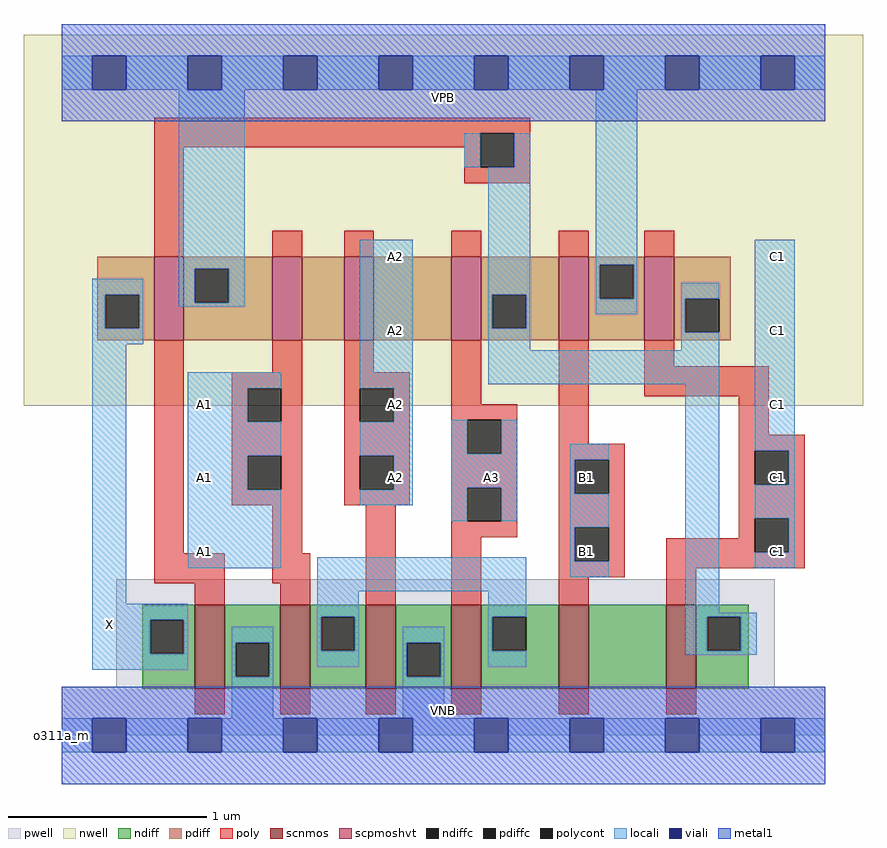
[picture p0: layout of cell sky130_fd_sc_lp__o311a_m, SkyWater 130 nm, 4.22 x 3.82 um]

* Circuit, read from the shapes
.subckt sky130_fd_sc_lp__o311a_m A1 A2 A3 B1 C1 VGND VNB VPB VPWR X
XM1 VGND n1 X VNB sky130_fd_pr__nfet_01v8 w=0.42 l=0.15
XM2 n2 A1 VGND VNB sky130_fd_pr__nfet_01v8 w=0.42 l=0.15
XM3 VGND A2 n2 VNB sky130_fd_pr__nfet_01v8 w=0.42 l=0.15
XM4 n2 A3 VGND VNB sky130_fd_pr__nfet_01v8 w=0.42 l=0.15
XM5 n3 B1 n2 VNB sky130_fd_pr__nfet_01v8 w=0.42 l=0.15
XM6 n1 C1 n3 VNB sky130_fd_pr__nfet_01v8 w=0.42 l=0.15
XM7 VPWR n1 X VPB sky130_fd_pr__pfet_01v8_hvt w=0.42 l=0.15
XM8 n4 A1 VPWR VPB sky130_fd_pr__pfet_01v8_hvt w=0.42 l=0.15
XM9 n5 A2 n4 VPB sky130_fd_pr__pfet_01v8_hvt w=0.42 l=0.15
XM10 n1 A3 n5 VPB sky130_fd_pr__pfet_01v8_hvt w=0.42 l=0.15
XM11 VPWR B1 n1 VPB sky130_fd_pr__pfet_01v8_hvt w=0.42 l=0.15
XM12 n1 C1 VPWR VPB sky130_fd_pr__pfet_01v8_hvt w=0.42 l=0.15
.ends

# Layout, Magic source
magic
tech sky130A
magscale 1 2
<< nwell >>
rect -38 331 806 704
<< pwell >>
rect 55 49 717 157
rect 0 0 768 49
<< scnmos >>
rect 134 47 164 131
rect 220 47 250 131
rect 306 47 336 131
rect 392 47 422 131
rect 500 47 530 131
rect 608 47 638 131
<< scpmoshvt >>
rect 93 397 123 481
rect 212 397 242 481
rect 284 397 314 481
rect 392 397 422 481
rect 500 397 530 481
rect 586 397 616 481
<< ndiff >>
rect 81 116 134 131
rect 81 82 89 116
rect 123 82 134 116
rect 81 47 134 82
rect 164 93 220 131
rect 164 59 175 93
rect 209 59 220 93
rect 164 47 220 59
rect 250 119 306 131
rect 250 85 261 119
rect 295 85 306 119
rect 250 47 306 85
rect 336 93 392 131
rect 336 59 347 93
rect 381 59 392 93
rect 336 47 392 59
rect 422 119 500 131
rect 422 85 433 119
rect 467 85 500 119
rect 422 47 500 85
rect 530 47 608 131
rect 638 119 691 131
rect 638 85 649 119
rect 683 85 691 119
rect 638 47 691 85
<< pdiff >>
rect 36 443 93 481
rect 36 409 44 443
rect 78 409 93 443
rect 36 397 93 409
rect 123 469 212 481
rect 123 435 134 469
rect 168 435 212 469
rect 123 397 212 435
rect 242 397 284 481
rect 314 397 392 481
rect 422 443 500 481
rect 422 409 433 443
rect 467 409 500 443
rect 422 397 500 409
rect 530 473 586 481
rect 530 439 541 473
rect 575 439 586 473
rect 530 397 586 439
rect 616 439 673 481
rect 616 405 627 439
rect 661 405 673 439
rect 616 397 673 405
<< ndiffc >>
rect 89 82 123 116
rect 175 59 209 93
rect 261 85 295 119
rect 347 59 381 93
rect 433 85 467 119
rect 649 85 683 119
<< pdiffc >>
rect 44 409 78 443
rect 134 435 168 469
rect 433 409 467 443
rect 541 439 575 473
rect 627 405 661 439
<< poly >>
rect 93 605 471 621
rect 93 591 421 605
rect 93 481 123 591
rect 405 571 421 591
rect 455 571 471 605
rect 405 555 471 571
rect 212 481 242 507
rect 284 481 314 507
rect 392 481 422 507
rect 500 481 530 507
rect 586 481 616 507
rect 93 183 123 397
rect 212 365 242 397
rect 171 349 242 365
rect 171 315 187 349
rect 221 315 242 349
rect 171 281 242 315
rect 171 247 187 281
rect 221 247 242 281
rect 171 231 242 247
rect 284 365 314 397
rect 284 349 350 365
rect 284 315 300 349
rect 334 315 350 349
rect 284 281 350 315
rect 284 247 300 281
rect 334 247 350 281
rect 284 231 350 247
rect 392 333 422 397
rect 392 317 458 333
rect 392 283 408 317
rect 442 283 458 317
rect 392 249 458 283
rect 212 183 242 231
rect 93 153 164 183
rect 212 153 250 183
rect 134 131 164 153
rect 220 131 250 153
rect 306 131 336 231
rect 392 215 408 249
rect 442 215 458 249
rect 392 199 458 215
rect 500 293 530 397
rect 586 371 616 397
rect 586 341 711 371
rect 681 302 711 341
rect 500 277 566 293
rect 500 243 516 277
rect 550 243 566 277
rect 500 209 566 243
rect 392 131 422 199
rect 500 175 516 209
rect 550 175 566 209
rect 681 286 747 302
rect 681 252 697 286
rect 731 252 747 286
rect 681 218 747 252
rect 681 198 697 218
rect 500 159 566 175
rect 608 184 697 198
rect 731 184 747 218
rect 608 168 747 184
rect 500 131 530 159
rect 608 131 638 168
rect 134 21 164 47
rect 220 21 250 47
rect 306 21 336 47
rect 392 21 422 47
rect 500 21 530 47
rect 608 21 638 47
<< polycont >>
rect 421 571 455 605
rect 187 315 221 349
rect 187 247 221 281
rect 300 315 334 349
rect 300 247 334 281
rect 408 283 442 317
rect 408 215 442 249
rect 516 243 550 277
rect 516 175 550 209
rect 697 252 731 286
rect 697 184 731 218
<< locali >>
rect 0 649 31 683
rect 65 649 127 683
rect 161 649 223 683
rect 257 649 319 683
rect 353 649 415 683
rect 449 649 511 683
rect 545 649 607 683
rect 641 649 703 683
rect 737 649 768 683
rect 118 469 184 649
rect 405 571 421 605
rect 455 571 471 605
rect 31 443 82 459
rect 31 409 44 443
rect 78 409 82 443
rect 118 435 134 469
rect 168 435 184 469
rect 118 431 184 435
rect 31 393 82 409
rect 31 132 65 393
rect 127 349 221 365
rect 127 315 187 349
rect 127 281 221 315
rect 127 247 187 281
rect 127 168 221 247
rect 300 349 353 498
rect 429 443 471 571
rect 429 409 433 443
rect 467 409 471 443
rect 537 473 579 649
rect 537 439 541 473
rect 575 439 579 473
rect 537 423 579 439
rect 623 439 661 455
rect 429 387 471 409
rect 623 405 627 439
rect 623 387 661 405
rect 429 353 661 387
rect 334 315 353 349
rect 300 281 353 315
rect 334 247 353 281
rect 300 231 353 247
rect 392 283 408 317
rect 442 283 458 317
rect 392 249 458 283
rect 392 215 408 249
rect 442 215 458 249
rect 511 277 550 293
rect 511 243 516 277
rect 511 209 550 243
rect 257 145 467 179
rect 511 175 516 209
rect 511 159 550 175
rect 31 116 127 132
rect 31 82 89 116
rect 123 82 127 116
rect 257 119 299 145
rect 31 66 127 82
rect 171 93 213 109
rect 171 59 175 93
rect 209 59 213 93
rect 257 85 261 119
rect 295 85 299 119
rect 429 119 467 145
rect 257 69 299 85
rect 343 93 385 109
rect 171 17 213 59
rect 343 59 347 93
rect 381 59 385 93
rect 429 85 433 119
rect 429 69 467 85
rect 627 123 661 353
rect 697 286 737 498
rect 731 252 737 286
rect 697 218 737 252
rect 731 184 737 218
rect 697 168 737 184
rect 627 119 699 123
rect 627 85 649 119
rect 683 85 699 119
rect 627 81 699 85
rect 343 17 385 59
rect 0 -17 31 17
rect 65 -17 127 17
rect 161 -17 223 17
rect 257 -17 319 17
rect 353 -17 415 17
rect 449 -17 511 17
rect 545 -17 607 17
rect 641 -17 703 17
rect 737 -17 768 17
<< viali >>
rect 31 649 65 683
rect 127 649 161 683
rect 223 649 257 683
rect 319 649 353 683
rect 415 649 449 683
rect 511 649 545 683
rect 607 649 641 683
rect 703 649 737 683
rect 31 -17 65 17
rect 127 -17 161 17
rect 223 -17 257 17
rect 319 -17 353 17
rect 415 -17 449 17
rect 511 -17 545 17
rect 607 -17 641 17
rect 703 -17 737 17
<< metal1 >>
rect 0 683 768 715
rect 0 649 31 683
rect 65 649 127 683
rect 161 649 223 683
rect 257 649 319 683
rect 353 649 415 683
rect 449 649 511 683
rect 545 649 607 683
rect 641 649 703 683
rect 737 649 768 683
rect 0 617 768 649
rect 0 17 768 49
rect 0 -17 31 17
rect 65 -17 127 17
rect 161 -17 223 17
rect 257 -17 319 17
rect 353 -17 415 17
rect 449 -17 511 17
rect 545 -17 607 17
rect 641 -17 703 17
rect 737 -17 768 17
rect 0 -49 768 -17
<< labels >>
flabel pwell s 0 0 768 49 0 FreeSans 200 0 0 0 VNB
port 7 nsew ground bidirectional
flabel nwell s 0 617 768 666 0 FreeSans 200 0 0 0 VPB
port 8 nsew power bidirectional
rlabel comment s 0 0 0 0 4 o311a_m
flabel metal1 s 0 617 768 666 0 FreeSans 340 0 0 0 VPWR
port 9 nsew power bidirectional
flabel metal1 s 0 0 768 49 0 FreeSans 340 0 0 0 VGND
port 6 nsew ground bidirectional
flabel locali s 127 168 161 202 0 FreeSans 340 0 0 0 A1
port 1 nsew signal input
flabel locali s 127 242 161 276 0 FreeSans 340 0 0 0 A1
port 1 nsew signal input
flabel locali s 127 316 161 350 0 FreeSans 340 0 0 0 A1
port 1 nsew signal input
flabel locali s 319 242 353 276 0 FreeSans 340 0 0 0 A2
port 2 nsew signal input
flabel locali s 319 316 353 350 0 FreeSans 340 0 0 0 A2
port 2 nsew signal input
flabel locali s 319 390 353 424 0 FreeSans 340 0 0 0 A2
port 2 nsew signal input
flabel locali s 319 464 353 498 0 FreeSans 340 0 0 0 A2
port 2 nsew signal input
flabel locali s 415 242 449 276 0 FreeSans 340 0 0 0 A3
port 3 nsew signal input
flabel locali s 703 168 737 202 0 FreeSans 340 0 0 0 C1
port 5 nsew signal input
flabel locali s 703 242 737 276 0 FreeSans 340 0 0 0 C1
port 5 nsew signal input
flabel locali s 703 316 737 350 0 FreeSans 340 0 0 0 C1
port 5 nsew signal input
flabel locali s 703 390 737 424 0 FreeSans 340 0 0 0 C1
port 5 nsew signal input
flabel locali s 703 464 737 498 0 FreeSans 340 0 0 0 C1
port 5 nsew signal input
flabel locali s 511 168 545 202 0 FreeSans 340 0 0 0 B1
port 4 nsew signal input
flabel locali s 511 242 545 276 0 FreeSans 340 0 0 0 B1
port 4 nsew signal input
flabel locali s 31 94 65 128 0 FreeSans 340 0 0 0 X
port 10 nsew signal output
<< properties >>
string LEFsite unit
string LEFclass CORE
string FIXED_BBOX 0 0 768 666
string GDS_FILE $PDKPATH/libs.ref/sky130_fd_sc_lp/gds/sky130_fd_sc_lp.gds
string LEFsymmetry X Y R90
string GDS_END 4460722
string GDS_START 4453044
<< end >>
